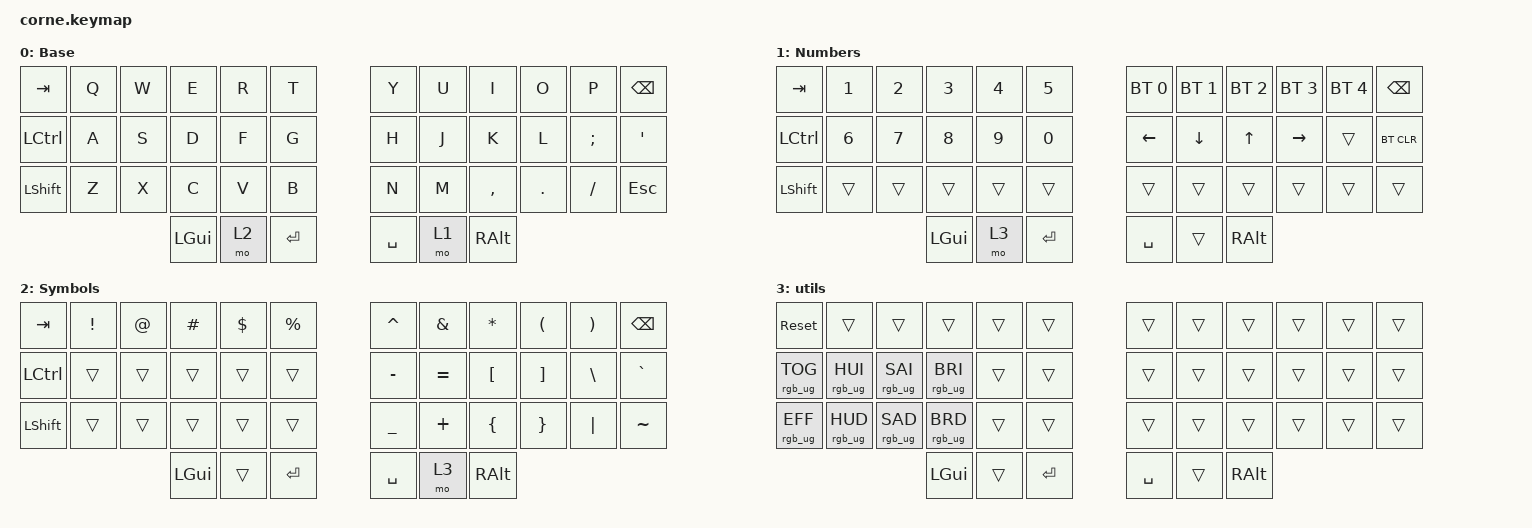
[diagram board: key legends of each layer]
/*
 * Copyright (c) 2020 The ZMK Contributors
 *
 * SPDX-License-Identifier: MIT
 */

#include <behaviors.dtsi>
#include <dt-bindings/zmk/keys.h>
#include <dt-bindings/zmk/bt.h>
#include <dt-bindings/zmk/rgb.h>

/ {
        keymap {
                compatible = "zmk,keymap";

                default_layer {
                  display-name = "Base";
// -----------------------------------------------------------------------------------------
// |  TAB |  Q  |  W  |  E  |  R  |  T  |   |  Y  |  U   |  I  |  O  |  P  | BSPC |
// | CTRL |  A  |  S  |  D  |  F  |  G  |   |  H  |  J   |  K  |  L  |  ;  |  '   |
// | SHFT |  Z  |  X  |  C  |  V  |  B  |   |  N  |  M   |  ,  |  .  |  /  | ESC  |
//                    | GUI | LWR | ENTER |   | SPACE | RSE  | ALT |
                        bindings = <
   &kp TAB   &kp Q &kp W &kp E &kp R &kp T   &kp Y &kp U  &kp I     &kp O   &kp P    &kp BSPC
   &kp LCTRL &kp A &kp S &kp D &kp F &kp G   &kp H &kp J  &kp K     &kp L   &kp SEMI &kp SQT
   &kp LSHFT &kp Z &kp X &kp C &kp V &kp B   &kp N &kp M  &kp COMMA &kp DOT &kp FSLH &kp ESCAPE
                  &kp LGUI &mo 2 &kp RET   &kp SPACE &mo 1 &kp RALT
                        >;
                };
                lower_layer {
                  display-name = "Numbers";
// |  TAB |  1  |  2  |  3  |  4  |  5  |   | BT1    |  BT2  |  BT3  |  BT4  |  BT5  | BSPC |
// | CTRL | 6   | 7   | 8   |   9 | 0   |   | LFT | DWN |  UP | RGT |     |      | BT CLEAR
// | SHFT |     |     |     |     |     |   |     |     |     |     |     |      |
//                    | GUI |     | SPC |   | ENT |     | ALT |
                        bindings = <
   &kp TAB    &kp N1       &kp N2       &kp N3       &kp N4       &kp N5         &bt BT_SEL 0   &bt BT_SEL 1  &bt BT_SEL 2  &bt BT_SEL 3    &bt BT_SEL 4 &kp BSPC
   &kp LCTRL  &kp N6       &kp N7       &kp N8       &kp N9       &kp N0         &kp LEFT       &kp DOWN      &kp UP        &kp RIGHT       &trans       &bt BT_CLR
   &kp LSHFT  &trans       &trans       &trans       &trans       &trans         &trans        &trans        &trans        &trans          &trans       &trans
                                    &kp LGUI     &mo 3      &kp RET      &kp SPACE  &trans   &kp RALT
                        >;
                };

                raise_layer {
                  display-name = "Symbols";
// -----------------------------------------------------------------------------------------
// |  TAB |  !  |  @  |  #  |  $  |  %  |   |  ^  |  &  |  *  |  (  |  )  | BSPC |
// | CTRL |     |     |     |     |     |   |  -  |  =  |  [  |  ]  |  \  |  `   |
// | SHFT |     |     |     |     |     |   |  _  |  +  |  {  |  }  | "|" |  ~   |
//                    | GUI |     | ENT |   | SPC |     | ALT |
                        bindings = <
   &kp  TAB  &kp EXCL &kp AT &kp HASH &kp DLLR &kp PRCNT   &kp CARET &kp AMPS  &kp ASTRK &kp LPAR &kp RPAR &kp BSPC
   &kp LCTRL &trans   &trans &trans   &trans   &trans      &kp MINUS &kp EQUAL &kp LBKT  &kp RBKT &kp BSLH &kp GRAVE
   &kp LSHFT &trans   &trans &trans   &trans   &trans      &kp UNDER &kp PLUS  &kp LBRC  &kp RBRC &kp PIPE &kp TILDE
                             &kp LGUI &trans   &kp RET   &kp SPACE   &mo 3    &kp RALT
                        >;
                };
                util_layer {
                  display-name = "utils";
// -----------------------------------------------------------------------------------------
// |  RESET |    |    |    |    |    |   |    |    |    |    |    |  |
// | RGB TGL |   HUE +  | SAT +  | BRIGHT +    |     |     |   |    |    |    |    |    |     |
// | RGB Mode | HUE -  |  SAT -  | BRIGHT -    |     |     |   |    |    |    |    |  |     |
//                    | |     |  |   |  |     |  |
                        bindings = <
   &sys_reset      &trans           &trans          &trans            &trans  &trans  &trans  &trans  &trans  &trans   &trans  &trans
   &rgb_ug RGB_TOG &rgb_ug RGB_HUI  &rgb_ug RGB_SAI  &rgb_ug RGB_BRI  &trans  &trans  &trans  &trans  &trans  &trans   &trans  &trans
   &rgb_ug RGB_EFF &rgb_ug RGB_HUD  &rgb_ug RGB_SAD  &rgb_ug RGB_BRD  &trans  &trans  &trans  &trans  &trans  &trans   &trans  &trans
                             &kp LGUI &trans    &kp RET   &kp SPACE   &trans    &kp RALT
                        >;
                };

        };
};
